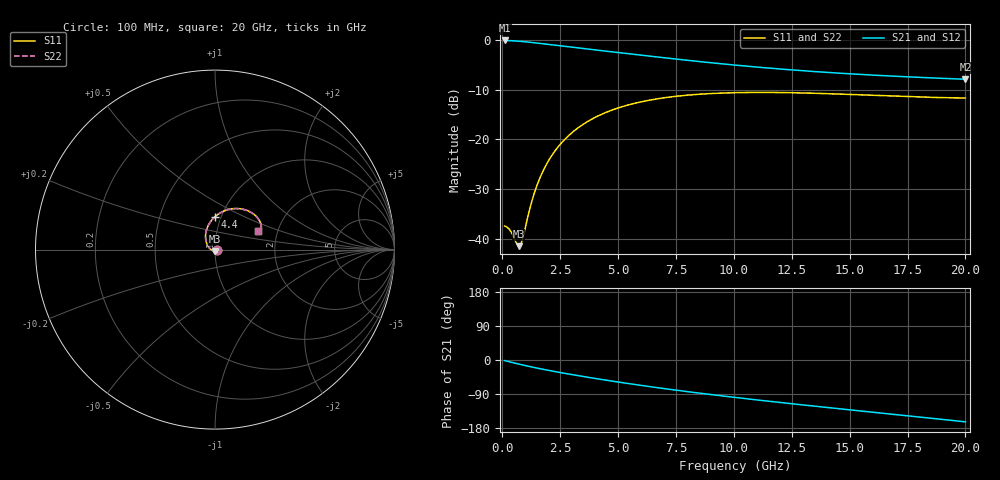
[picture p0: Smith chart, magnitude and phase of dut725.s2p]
! Touchstone file exported from HFSS 2024.1.0
!  File:  C:/UserFiles/LocalFiles/RDL_TSV_Batchsim/temp_RDL_TSV_725_1779891690.aedt
!  Generated:  10:34:01 PM May 27, 2026
!  Design:  RDL_TSV
!  Project:  temp_RDL_TSV_725_1779891690
!  Setup:  Setup1
!  Solution:  Sweep
! Variables:
!  dtsv = 13.84um
!  hbump = 3um
!  htsv = 64.3um
!  ldown = 505.68um
!  lrdl = 171.16um
!  p = 40
!  p1 = 47.96um
!  rhole = 10um
!  subl = 2201.68um
!  t = 450um
!  tdown = 2.96um
!  trdl = 4.75um
!  viad = 10um
!  wdown = 16.67um
!  wrdl = 21.91um
!  xbump = 18um
# GHz S MA R 50.000000
! Terminal data exported
! Port[1] = TM1_1_T1
! Port[2] = TM1_4_T1
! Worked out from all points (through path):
!   200 points, 100 MHz to 20 GHz, reference 50 ohm
!   highest |S21| = -0.12 dB at 100 MHz (marker M1); lowest = -7.9 dB at 20 GHz (marker M2)
!   group delay of S21, straight-line fit = 21.3 ps
!   lowest |S11| = -41.5 dB at 700 MHz (marker M3), VSWR 1.02, Z = 50.1 - j0.841 ohm
!   |S11| at or under -10 dB: start of sweep to end of sweep
!   |S22| runs from -41.5 to -10.6 dB; largest |S21 - S12| = 9.5e-15
!   S11 on the Smith chart (normalised r, x): 100 MHz: 1.03, -0.00; 4.4 GHz: 0.93, +0.35; 20 GHz: 1.58, +0.35
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0.1  0.01343 -6.2  0.986 -1.6  0.986 -1.6  0.01343 -6.2
! Gamma 0 0 0 0
! Port Impedance 50 0 50 0
0.3  0.01248 -21.8  0.9825 -4.7  0.9825 -4.7  0.01248 -21.8
0.7  0.008422 -85.9  0.9693 -10.6  0.9693 -10.6  0.008427 -85.8
0.8  0.008747 -112.1  0.9651 -12.0  0.9651 -12.0  0.008748 -112.0
0.9  0.01037 -136.0  0.9605 -13.4  0.9605 -13.4  0.01036 -135.8
1.2  0.02055 -177.7  0.9451 -17.5  0.9451 -17.5  0.02052 -177.6
1.4  0.02961 167.7  0.9339 -20.1  0.9339 -20.1  0.02956 167.7
1.6  0.0396 157.0  0.9224 -22.6  0.9224 -22.6  0.03954 157.0
1.9  0.05561 144.7  0.9049 -26.3  0.9049 -26.3  0.05553 144.7
2.2  0.07221 134.8  0.8876 -29.7  0.8876 -29.7  0.0721 134.8
2.6  0.09446 123.9  0.8651 -34.2  0.8651 -34.2  0.09432 123.9
3  0.1162 114.6  0.8434 -38.5  0.8434 -38.5  0.116 114.6
3.5  0.1419 104.7  0.8174 -43.6  0.8174 -43.6  0.1417 104.7
4.4  0.1831 90.1  0.7732 -52.5  0.7732 -52.5  0.1828 90.1
5.5  0.2234 76.0  0.7227 -62.7  0.7227 -62.7  0.2231 75.9
6.8  0.2575 62.7  0.6678 -73.9  0.6678 -73.9  0.2571 62.7
8.4  0.2828 50.2  0.6085 -86.6  0.6085 -86.6  0.2822 50.1
10.1  0.2945 40.1  0.556 -99.1  0.556 -99.1  0.2938 40.0
11.7  0.2958 32.9  0.5157 -110.1  0.5157 -110.1  0.2951 32.9
13.4  0.2907 27.5  0.4814 -121.3  0.4814 -121.3  0.29 27.4
16.7  0.2728 22.2  0.4335 -142.3  0.4335 -142.3  0.272 22.2
20  0.2603 23.0  0.4015 -163.1  0.4015 -163.1  0.2595 23.0
